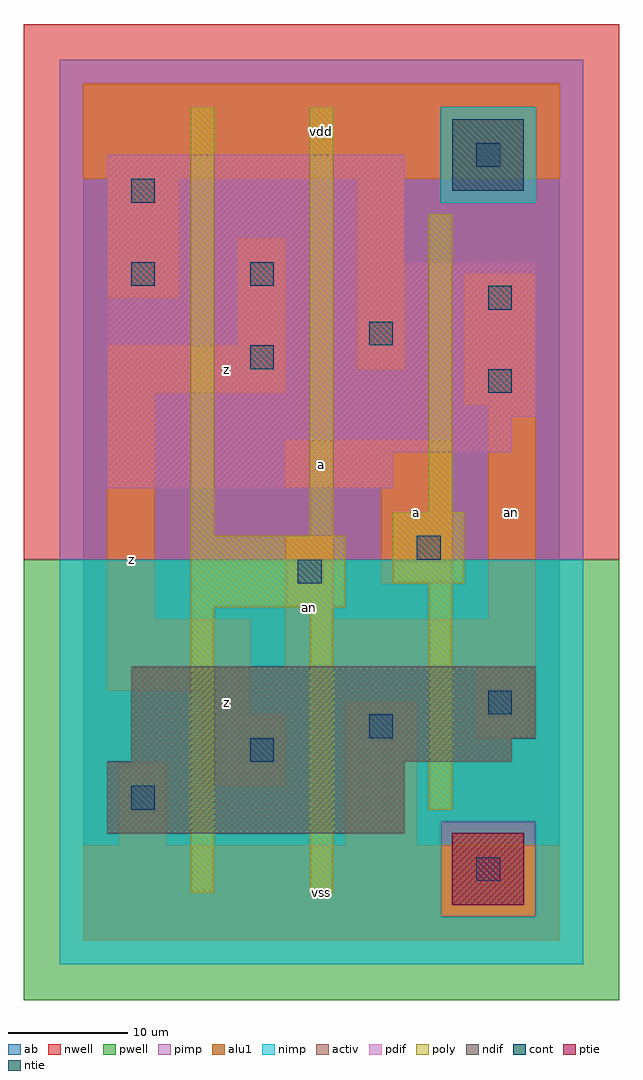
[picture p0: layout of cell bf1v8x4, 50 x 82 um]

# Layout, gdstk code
import gdstk
lib = gdstk.Library(unit=1e-6, precision=1e-09)
def R(c, l, rs):  # rectangles x0, y0, x1, y1
    for r in rs: c.add(gdstk.rectangle(r[:2], r[2:], *l))
ndif = (3, 0)
pdif = (4, 0)
ntie = (5, 0)
ptie = (6, 0)
cont = (25, 0)
pwell = (41, 0)
nwell = (42, 0)
activ = (43, 0)
pimp = (44, 0)
nimp = (45, 0)
poly = (46, 0)
alu1 = (49, 0)
ab = (63, 0)

bf1v8x4 = lib.new_cell('bf1v8x4')
R(bf1v8x4, ndif, [(2,9,27,15), (4,15,36,17), (4,17,38,23)])
R(bf1v8x4, pdif, [(2,38,26,41), (2,41,36,44), (2,44,38,57), (2,57,27,66)])
R(bf1v8x4, ntie, [(31,63,37,69)])
R(bf1v8x4, ptie, [(31,3,37,9)])
R(bf1v8x4, cont, [(33,5,35,7), (4,11,6,13), (14,15,16,17), (24,17,26,19), (34,19,36,21), (18,30,20,32), (28,32,30,34), (34,46,36,48), (14,48,16,50), (24,50,26,52), (34,53,36,55), (4,55,6,57), (14,55,16,57), (4,62,6,64), (33,65,35,67)])
R(bf1v8x4, pwell, [(-5,-5,45,32)])
R(bf1v8x4, nwell, [(-5,32,45,77)])
R(bf1v8x4, activ, [(31,3,37,9), (2,9,27,15), (4,15,36,17), (4,17,38,23), (2,38,26,41), (2,41,36,44), (2,44,38,57), (2,57,27,66), (31,63,37,69)])
R(bf1v8x4, pimp, [(30,2,38,10), (-2,32,42,62), (-2,62,30,70), (38,62,42,70), (-2,70,42,74)])
R(bf1v8x4, nimp, [(-2,-2,42,2), (-2,2,30,10), (38,2,42,10), (-2,10,42,32), (30,62,38,70)])
R(bf1v8x4, poly, [(9,4,11,28), (19,4,21,28), (29,11,31,30), (9,28,22,34), (26,30,32,36), (9,34,11,70), (19,34,21,70), (29,36,31,61)])
R(bf1v8x4, alu1, [(0,0,40,8), (3,8,7,15), (22,8,28,20), (10,13,17,19), (33,17,38,23), (10,19,14,21), (2,21,14,27), (17,23,38,27), (2,27,6,46), (17,27,21,34), (34,27,38,45), (25,30,31,38), (17,38,31,42), (32,45,38,56), (2,46,17,50), (23,48,27,64), (13,50,17,59), (2,54,8,64), (0,64,40,72)])
R(bf1v8x4, ab, [(0,0,40,72)])
bf1v8x4.add(gdstk.Label('an', (19,28), layer=49, texttype=0))
bf1v8x4.add(gdstk.Label('an', (36,36), layer=49, texttype=0))
bf1v8x4.add(gdstk.Label('z', (4,32), layer=49, texttype=0))
bf1v8x4.add(gdstk.Label('z', (12,20), layer=49, texttype=0))
bf1v8x4.add(gdstk.Label('z', (12,48), layer=49, texttype=0))
bf1v8x4.add(gdstk.Label('vss', (20,4), layer=49, texttype=0))
bf1v8x4.add(gdstk.Label('a', (28,36), layer=49, texttype=0))
bf1v8x4.add(gdstk.Label('a', (20,40), layer=49, texttype=0))
bf1v8x4.add(gdstk.Label('vdd', (20,68), layer=49, texttype=0))

lib.write_gds('bf1v8x4.gds')
